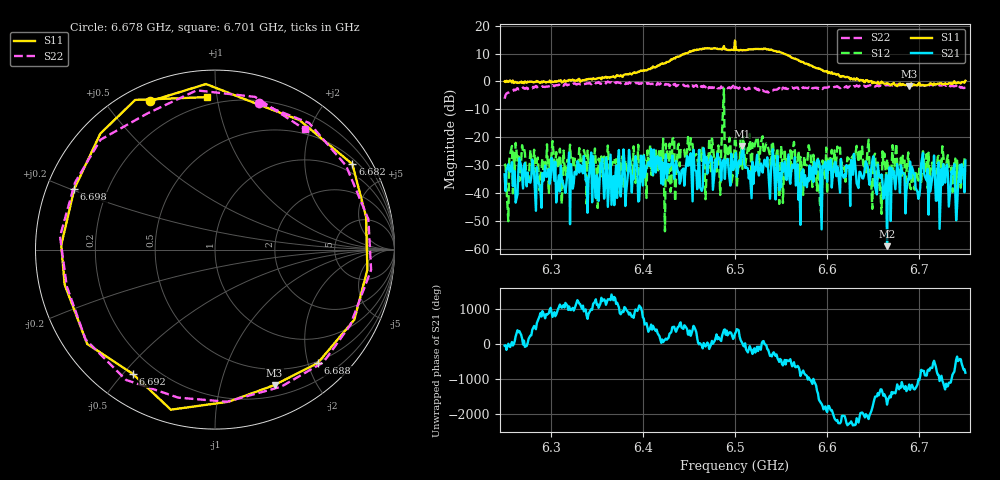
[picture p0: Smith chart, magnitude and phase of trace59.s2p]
# Hz S RI R 50
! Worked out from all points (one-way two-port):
!   401 points, 6.25 GHz to 6.75 GHz, reference 50 ohm
!   highest |S21| = -23.10 dB at 6.508 GHz (marker M1); lowest = -59.1 dB at 6.665 GHz (marker M2)
!   lowest |S11| = -1.7 dB at 6.689 GHz (marker M3), VSWR 10.38, Z = 15.8 - j74.2 ohm
!   |S11| at or under -10 dB: nowhere
!   |S22| runs from -6.2 to 0.0 dB; largest |S21 - S12| = 0.78
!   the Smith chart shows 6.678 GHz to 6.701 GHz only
!   S11 on the Smith chart (normalised r, x): 6.678 GHz: 0.07, +0.65; 6.682 GHz: 0.67, +3.38; 6.688 GHz: 0.47, -2.17; 6.692 GHz: 0.12, -0.53; 6.698 GHz: 0.08, +0.21; 6.701 GHz: 0.15, +0.94
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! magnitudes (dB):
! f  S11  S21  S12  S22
! 6.25 GHz  0.0  -33.3  -29.5  -6.2
! 6.334 GHz  0.4  -30.7  -32.2  -0.8
! 6.418 GHz  5.8  -31.2  -24.2  -1.1
! 6.469 GHz  11.9  -27.2  -34.0  -1.4
! 6.489 GHz  11.5  -34.9  -29.5  -2.4
! 6.5 GHz  14.7  -27.3  -19.4  -2.0
! 6.508 GHz  11.2  -23.1  -31.4  -2.5
! 6.569 GHz  7.6  -42.5  -24.9  -2.7
! 6.584 GHz  5.5  -30.6  -37.9  -2.4
! 6.591 GHz  4.5  -28.7  -33.4  -2.7
! 6.611 GHz  2.5  -30.5  -23.3  -1.7
! 6.656 GHz  -0.8  -33.2  -33.4  -1.8
! 6.665 GHz  -0.6  -59.1  -27.8  -1.2
! 6.668 GHz  -1.2  -30.7  -31.4  -1.4
! 6.678 GHz  -0.9  -34.2  -33.1  -1.4
! 6.682 GHz  -0.9  -32.6  -26.6  -1.1
! 6.688 GHz  -1.4  -34.8  -25.5  -1.4
! 6.689 GHz  -1.7  -35.2  -34.5  -1.4
! 6.692 GHz  -1.6  -30.6  -32.5  -1.4
! 6.698 GHz  -1.4  -39.6  -34.2  -1.4
! 6.701 GHz  -1.4  -38.1  -33.2  -1.6
! 6.75 GHz  0.2  -28.3  -26.7  -2.2
